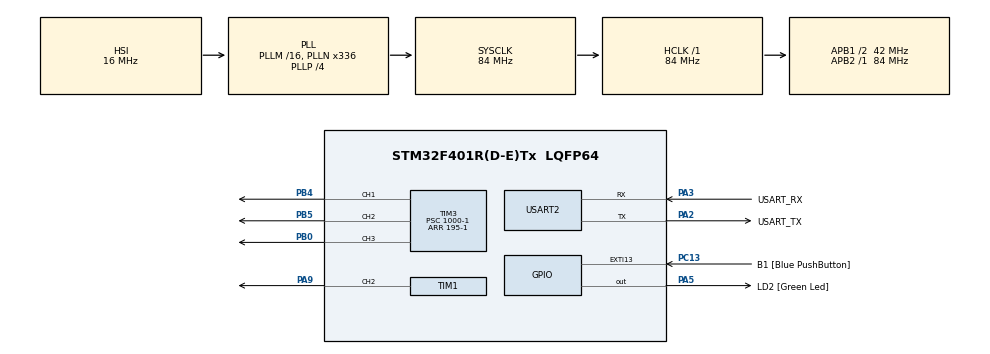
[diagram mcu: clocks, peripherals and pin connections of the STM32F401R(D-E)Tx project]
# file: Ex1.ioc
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Mcu.Family=STM32F4
Mcu.Name=STM32F401R(D-E)Tx
Mcu.Package=LQFP64
NVIC.PriorityGroup=NVIC_PRIORITYGROUP_0
PA13.GPIO_Label=TMS
PA13.Mode=Serial_Wire
PA13.Signal=SYS_JTMS-SWDIO
PA14.GPIO_Label=TCK
PA14.Mode=Serial_Wire
PA14.Signal=SYS_JTCK-SWCLK
PA2.GPIO_Label=USART_TX
PA2.GPIO_Mode=GPIO_MODE_AF_PP
PA2.GPIO_PuPd=GPIO_NOPULL
PA2.GPIO_Speed=GPIO_SPEED_FREQ_LOW
PA2.Mode=Asynchronous
PA2.Signal=USART2_TX
PA3.GPIO_Label=USART_RX
PA3.GPIO_Mode=GPIO_MODE_AF_PP
PA3.GPIO_PuPd=GPIO_NOPULL
PA3.GPIO_Speed=GPIO_SPEED_FREQ_LOW
PA3.Mode=Asynchronous
PA3.Signal=USART2_RX
PA5.GPIO_Label=LD2 [Green Led]
PA5.GPIO_Mode=GPIO_MODE_OUTPUT_PP
PA5.GPIO_PuPd=GPIO_NOPULL
PA5.GPIO_Speed=GPIO_SPEED_FREQ_LOW
PA5.Signal=GPIO_Output
PA9.Signal=S_TIM1_CH2
PB0.Signal=S_TIM3_CH3
PB3.GPIO_Label=SWO
PB3.Signal=SYS_JTDO-SWO
PB4.Signal=S_TIM3_CH1
PB5.Signal=S_TIM3_CH2
PC13-ANTI_TAMP.GPIO_Label=B1 [Blue PushButton]
PC13-ANTI_TAMP.GPIO_ModeDefaultEXTI=GPIO_MODE_IT_FALLING
PC13-ANTI_TAMP.GPIO_PuPd=GPIO_NOPULL
PC13-ANTI_TAMP.Signal=GPXTI13
PC14-OSC32_IN.Mode=LSE-External-Oscillator
PC14-OSC32_IN.Signal=RCC_OSC32_IN
PC15-OSC32_OUT.Mode=LSE-External-Oscillator
PC15-OSC32_OUT.Signal=RCC_OSC32_OUT
PH0\ -\ OSC_IN.Mode=HSE-External-Clock-Source
PH0\ -\ OSC_IN.Signal=RCC_OSC_IN
PH1\ -\ OSC_OUT.Mode=HSE-External-Clock-Source
PH1\ -\ OSC_OUT.Signal=RCC_OSC_OUT
ProjectManager.HeapSize=0x200
ProjectManager.StackSize=0x400
ProjectManager.TargetToolchain=STM32CubeIDE
RCC.48MHZClocksFreq_Value=48000000
RCC.AHBFreq_Value=84000000
RCC.APB1CLKDivider=RCC_HCLK_DIV2
RCC.APB1Freq_Value=42000000
RCC.APB1TimFreq_Value=84000000
RCC.APB2Freq_Value=84000000
RCC.APB2TimFreq_Value=84000000
RCC.CortexFreq_Value=84000000
RCC.HCLKFreq_Value=84000000
RCC.HSE_VALUE=8000000
RCC.HSI_VALUE=16000000
RCC.PLLN=336
RCC.PLLP=RCC_PLLP_DIV4
RCC.PLLQ=7
RCC.SYSCLKFreq_VALUE=84000000
RCC.SYSCLKSource=RCC_SYSCLKSOURCE_PLLCLK
RCC.VCOOutputFreq_Value=336000000
SH.S_TIM1_CH2.0=TIM1_CH2,PWM Generation2 CH2
SH.S_TIM3_CH1.0=TIM3_CH1,PWM Generation1 CH1
SH.S_TIM3_CH2.0=TIM3_CH2,PWM Generation2 CH2
SH.S_TIM3_CH3.0=TIM3_CH3,PWM Generation3 CH3
TIM1.Channel-PWM\ Generation2\ CH2=TIM_CHANNEL_2
TIM1.Period=1909-1
TIM1.Prescaler=100-1
TIM1.Pulse-PWM\ Generation2\ CH2=954-1
TIM3.Channel-PWM\ Generation1\ CH1=TIM_CHANNEL_1
TIM3.Channel-PWM\ Generation2\ CH2=TIM_CHANNEL_2
TIM3.Channel-PWM\ Generation3\ CH3=TIM_CHANNEL_3
TIM3.Period=195-1
TIM3.Prescaler=1000-1
TIM3.Pulse-PWM\ Generation1\ CH1=97-1
TIM3.Pulse-PWM\ Generation2\ CH2=97-1
TIM3.Pulse-PWM\ Generation3\ CH3=97-1
USART2.VirtualMode=VM_ASYNC
VP_TIM1_VS_ClockSourceINT.Mode=Internal
board=NUCLEO-F401RE

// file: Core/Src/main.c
/* USER CODE BEGIN Header */
/**
  ******************************************************************************
  * @file           : main.c
  * @brief          : Main program body
  ******************************************************************************
  * @attention
  *
  * Copyright (c) 2023 STMicroelectronics.
  * All rights reserved.
  *
  * This software is licensed under terms that can be found in the LICENSE file
  * in the root directory of this software component.
  * If no LICENSE file comes with this software, it is provided AS-IS.
  *
  ******************************************************************************
  */
/* USER CODE END Header */
#include "main.h"

/* USER CODE BEGIN Includes */
#include "string.h"

/* USER CODE END Includes */

/* USER CODE BEGIN PD */
#define TIME_UNIT 750
/* USER CODE END PD */

TIM_HandleTypeDef htim1;
TIM_HandleTypeDef htim3;

UART_HandleTypeDef huart2;

void SystemClock_Config(void);
static void MX_GPIO_Init(void);
static void MX_USART2_UART_Init(void);
static void MX_TIM1_Init(void);
static void MX_TIM3_Init(void);

/* USER CODE BEGIN 0 */
static void setFrequency(char* note)
{
  TIM_ClockConfigTypeDef sClockSourceConfig = {0};
  TIM_MasterConfigTypeDef sMasterConfig = {0};
  TIM_OC_InitTypeDef sConfigOC = {0};
  TIM_BreakDeadTimeConfigTypeDef sBreakDeadTimeConfig = {0};

  htim1.Instance = TIM1;
  htim1.Init.Prescaler = 100;
  htim1.Init.CounterMode = TIM_COUNTERMODE_UP;
  htim1.Init.Period = getPeriod(note)-1;
  htim1.Init.ClockDivision = TIM_CLOCKDIVISION_DIV1;
  htim1.Init.RepetitionCounter = 0;
  htim1.Init.AutoReloadPreload = TIM_AUTORELOAD_PRELOAD_DISABLE;
  if (HAL_TIM_Base_Init(&htim1) != HAL_OK)
  {
    Error_Handler();
  }
  sClockSourceConfig.ClockSource = TIM_CLOCKSOURCE_INTERNAL;
  if (HAL_TIM_ConfigClockSource(&htim1, &sClockSourceConfig) != HAL_OK)
  {
    Error_Handler();
  }
  if (HAL_TIM_PWM_Init(&htim1) != HAL_OK)
  {
    Error_Handler();
  }
  sMasterConfig.MasterOutputTrigger = TIM_TRGO_RESET;
  sMasterConfig.MasterSlaveMode = TIM_MASTERSLAVEMODE_DISABLE;
  if (HAL_TIMEx_MasterConfigSynchronization(&htim1, &sMasterConfig) != HAL_OK)
  {
    Error_Handler();
  }
  sConfigOC.OCMode = TIM_OCMODE_PWM1;
  sConfigOC.Pulse = (int)getPeriod(note)/2 -1;
  sConfigOC.OCPolarity = TIM_OCPOLARITY_HIGH;
  sConfigOC.OCNPolarity = TIM_OCNPOLARITY_HIGH;
  sConfigOC.OCFastMode = TIM_OCFAST_DISABLE;
  sConfigOC.OCIdleState = TIM_OCIDLESTATE_RESET;
  sConfigOC.OCNIdleState = TIM_OCNIDLESTATE_RESET;
  if (HAL_TIM_PWM_ConfigChannel(&htim1, &sConfigOC, TIM_CHANNEL_2) != HAL_OK)
  {
    Error_Handler();
  }
  sBreakDeadTimeConfig.OffStateRunMode = TIM_OSSR_DISABLE;
  sBreakDeadTimeConfig.OffStateIDLEMode = TIM_OSSI_DISABLE;
  sBreakDeadTimeConfig.LockLevel = TIM_LOCKLEVEL_OFF;
  sBreakDeadTimeConfig.DeadTime = 0;
  sBreakDeadTimeConfig.BreakState = TIM_BREAK_DISABLE;
  sBreakDeadTimeConfig.BreakPolarity = TIM_BREAKPOLARITY_HIGH;
  sBreakDeadTimeConfig.AutomaticOutput = TIM_AUTOMATICOUTPUT_DISABLE;
  if (HAL_TIMEx_ConfigBreakDeadTime(&htim1, &sBreakDeadTimeConfig) != HAL_OK)
  {
    Error_Handler();
  }
  HAL_TIM_MspPostInit(&htim1);
}

int getPeriod(char* note){
	if(strcmp(note, "la")==0)
		return 1909;
	else if (strcmp(note, "la#")==0)
			return 1802;
	else if (strcmp(note, "si")==0)
			return 1700;
	else if (strcmp(note, "do")==0)
			return 3206;
	else if (strcmp(note, "do#")==0)
			return 3032;
	else if (strcmp(note, "re")==0)
			return 2857;
	else if (strcmp(note, "re5")==0)
				return 1431;
	else if (strcmp(note, "re#")==0)
			return 2700;
	else if (strcmp(note, "mi")==0)
			return 2545;
	else if (strcmp(note, "fa")==0)
			return 2406;
	else if (strcmp(note, "fa#")==0)
			return 2270;
	else if (strcmp(note, "sol")==0)
			return 2142;
	else if (strcmp(note, "sol#")==0)
			return 2024;
}
void setNote (char* note, int delay, char* colour){
	setFrequency(note);
	if(strcmp(colour, "red")==0){
		HAL_TIM_PWM_Start(&htim1, TIM_CHANNEL_2);
		HAL_TIM_PWM_Start(&htim3, TIM_CHANNEL_1);
		HAL_Delay(delay);
		HAL_TIM_PWM_Stop(&htim3, TIM_CHANNEL_1);
		HAL_TIM_PWM_Stop(&htim1, TIM_CHANNEL_2);
	}
	if(strcmp(colour, "green")==0){
		HAL_TIM_PWM_Start(&htim1, TIM_CHANNEL_2);
		HAL_TIM_PWM_Start(&htim3, TIM_CHANNEL_2);
		HAL_Delay(delay);
		HAL_TIM_PWM_Stop(&htim3, TIM_CHANNEL_2);
		HAL_TIM_PWM_Stop(&htim1, TIM_CHANNEL_2);
	}
	if(strcmp(colour, "blue")==0){
		HAL_TIM_PWM_Start(&htim1, TIM_CHANNEL_2);
		HAL_TIM_PWM_Start(&htim3, TIM_CHANNEL_3);
		HAL_Delay(delay);
		HAL_TIM_PWM_Stop(&htim3, TIM_CHANNEL_3);
		HAL_TIM_PWM_Stop(&htim1, TIM_CHANNEL_2);
	}
}
void playRGB(){
	 setNote("sol", (int)TIME_UNIT * 3/8, "red");
	 setNote("la", (int)TIME_UNIT * 3/8, "green");
	 setNote("sol", (int)TIME_UNIT * 3/8, "blue");
}

/* USER CODE END 0 */

int main(void)
{

  /* MCU Configuration--------------------------------------------------------*/

  /* Reset of all peripherals, Initializes the Flash interface and the Systick. */
  HAL_Init();

  /* Configure the system clock */
  SystemClock_Config();

  /* Initialize all configured peripherals */
  MX_GPIO_Init();
  MX_USART2_UART_Init();
  MX_TIM1_Init();
  MX_TIM3_Init();
  /* USER CODE BEGIN 2 */

  playRGB();

  /* USER CODE END 2 */

  /* Infinite loop */
  while (1)
  {

  }
}

void SystemClock_Config(void)
{
  RCC_OscInitTypeDef RCC_OscInitStruct = {0};
  RCC_ClkInitTypeDef RCC_ClkInitStruct = {0};

  /** Configure the main internal regulator output voltage
  */
  __HAL_RCC_PWR_CLK_ENABLE();
  __HAL_PWR_VOLTAGESCALING_CONFIG(PWR_REGULATOR_VOLTAGE_SCALE2);

  /** Initializes the RCC Oscillators according to the specified parameters
  * in the RCC_OscInitTypeDef structure.
  */
  RCC_OscInitStruct.OscillatorType = RCC_OSCILLATORTYPE_HSI;
  RCC_OscInitStruct.HSIState = RCC_HSI_ON;
  RCC_OscInitStruct.HSICalibrationValue = RCC_HSICALIBRATION_DEFAULT;
  RCC_OscInitStruct.PLL.PLLState = RCC_PLL_ON;
  RCC_OscInitStruct.PLL.PLLSource = RCC_PLLSOURCE_HSI;
  RCC_OscInitStruct.PLL.PLLM = 16;
  RCC_OscInitStruct.PLL.PLLN = 336;
  RCC_OscInitStruct.PLL.PLLP = RCC_PLLP_DIV4;
  RCC_OscInitStruct.PLL.PLLQ = 7;
  if (HAL_RCC_OscConfig(&RCC_OscInitStruct) != HAL_OK)
  {
    Error_Handler();
  }

  /** Initializes the CPU, AHB and APB buses clocks
  */
  RCC_ClkInitStruct.ClockType = RCC_CLOCKTYPE_HCLK|RCC_CLOCKTYPE_SYSCLK
                              |RCC_CLOCKTYPE_PCLK1|RCC_CLOCKTYPE_PCLK2;
  RCC_ClkInitStruct.SYSCLKSource = RCC_SYSCLKSOURCE_PLLCLK;
  RCC_ClkInitStruct.AHBCLKDivider = RCC_SYSCLK_DIV1;
  RCC_ClkInitStruct.APB1CLKDivider = RCC_HCLK_DIV2;
  RCC_ClkInitStruct.APB2CLKDivider = RCC_HCLK_DIV1;

  if (HAL_RCC_ClockConfig(&RCC_ClkInitStruct, FLASH_LATENCY_2) != HAL_OK)
  {
    Error_Handler();
  }
}

static void MX_TIM1_Init(void)
{

  TIM_ClockConfigTypeDef sClockSourceConfig = {0};
  TIM_MasterConfigTypeDef sMasterConfig = {0};
  TIM_OC_InitTypeDef sConfigOC = {0};
  TIM_BreakDeadTimeConfigTypeDef sBreakDeadTimeConfig = {0};

  htim1.Instance = TIM1;
  htim1.Init.Prescaler = 100-1;
  htim1.Init.CounterMode = TIM_COUNTERMODE_UP;
  htim1.Init.Period = 1909-1;
  htim1.Init.ClockDivision = TIM_CLOCKDIVISION_DIV1;
  htim1.Init.RepetitionCounter = 0;
  htim1.Init.AutoReloadPreload = TIM_AUTORELOAD_PRELOAD_DISABLE;
  if (HAL_TIM_Base_Init(&htim1) != HAL_OK)
  {
    Error_Handler();
  }
  sClockSourceConfig.ClockSource = TIM_CLOCKSOURCE_INTERNAL;
  if (HAL_TIM_ConfigClockSource(&htim1, &sClockSourceConfig) != HAL_OK)
  {
    Error_Handler();
  }
  if (HAL_TIM_PWM_Init(&htim1) != HAL_OK)
  {
    Error_Handler();
  }
  sMasterConfig.MasterOutputTrigger = TIM_TRGO_RESET;
  sMasterConfig.MasterSlaveMode = TIM_MASTERSLAVEMODE_DISABLE;
  if (HAL_TIMEx_MasterConfigSynchronization(&htim1, &sMasterConfig) != HAL_OK)
  {
    Error_Handler();
  }
  sConfigOC.OCMode = TIM_OCMODE_PWM1;
  sConfigOC.Pulse = 954-1;
  sConfigOC.OCPolarity = TIM_OCPOLARITY_HIGH;
  sConfigOC.OCNPolarity = TIM_OCNPOLARITY_HIGH;
  sConfigOC.OCFastMode = TIM_OCFAST_DISABLE;
  sConfigOC.OCIdleState = TIM_OCIDLESTATE_RESET;
  sConfigOC.OCNIdleState = TIM_OCNIDLESTATE_RESET;
  if (HAL_TIM_PWM_ConfigChannel(&htim1, &sConfigOC, TIM_CHANNEL_2) != HAL_OK)
  {
    Error_Handler();
  }
  sBreakDeadTimeConfig.OffStateRunMode = TIM_OSSR_DISABLE;
  sBreakDeadTimeConfig.OffStateIDLEMode = TIM_OSSI_DISABLE;
  sBreakDeadTimeConfig.LockLevel = TIM_LOCKLEVEL_OFF;
  sBreakDeadTimeConfig.DeadTime = 0;
  sBreakDeadTimeConfig.BreakState = TIM_BREAK_DISABLE;
  sBreakDeadTimeConfig.BreakPolarity = TIM_BREAKPOLARITY_HIGH;
  sBreakDeadTimeConfig.AutomaticOutput = TIM_AUTOMATICOUTPUT_DISABLE;
  if (HAL_TIMEx_ConfigBreakDeadTime(&htim1, &sBreakDeadTimeConfig) != HAL_OK)
  {
    Error_Handler();
  }
  HAL_TIM_MspPostInit(&htim1);

}

static void MX_TIM3_Init(void)
{

  TIM_MasterConfigTypeDef sMasterConfig = {0};
  TIM_OC_InitTypeDef sConfigOC = {0};

  htim3.Instance = TIM3;
  htim3.Init.Prescaler = 1000-1;
  htim3.Init.CounterMode = TIM_COUNTERMODE_UP;
  htim3.Init.Period = 195-1;
  htim3.Init.ClockDivision = TIM_CLOCKDIVISION_DIV1;
  htim3.Init.AutoReloadPreload = TIM_AUTORELOAD_PRELOAD_DISABLE;
  if (HAL_TIM_PWM_Init(&htim3) != HAL_OK)
  {
    Error_Handler();
  }
  sMasterConfig.MasterOutputTrigger = TIM_TRGO_RESET;
  sMasterConfig.MasterSlaveMode = TIM_MASTERSLAVEMODE_DISABLE;
  if (HAL_TIMEx_MasterConfigSynchronization(&htim3, &sMasterConfig) != HAL_OK)
  {
    Error_Handler();
  }
  sConfigOC.OCMode = TIM_OCMODE_PWM1;
  sConfigOC.Pulse = 97-1;
  sConfigOC.OCPolarity = TIM_OCPOLARITY_HIGH;
  sConfigOC.OCFastMode = TIM_OCFAST_DISABLE;
  if (HAL_TIM_PWM_ConfigChannel(&htim3, &sConfigOC, TIM_CHANNEL_1) != HAL_OK)
  {
    Error_Handler();
  }
  if (HAL_TIM_PWM_ConfigChannel(&htim3, &sConfigOC, TIM_CHANNEL_2) != HAL_OK)
  {
    Error_Handler();
  }
  if (HAL_TIM_PWM_ConfigChannel(&htim3, &sConfigOC, TIM_CHANNEL_3) != HAL_OK)
  {
    Error_Handler();
  }
  HAL_TIM_MspPostInit(&htim3);

}

static void MX_USART2_UART_Init(void)
{

  huart2.Instance = USART2;
  huart2.Init.BaudRate = 115200;
  huart2.Init.WordLength = UART_WORDLENGTH_8B;
  huart2.Init.StopBits = UART_STOPBITS_1;
  huart2.Init.Parity = UART_PARITY_NONE;
  huart2.Init.Mode = UART_MODE_TX_RX;
  huart2.Init.HwFlowCtl = UART_HWCONTROL_NONE;
  huart2.Init.OverSampling = UART_OVERSAMPLING_16;
  if (HAL_UART_Init(&huart2) != HAL_OK)
  {
    Error_Handler();
  }

}

static void MX_GPIO_Init(void)
{
  GPIO_InitTypeDef GPIO_InitStruct = {0};

  /* GPIO Ports Clock Enable */
  __HAL_RCC_GPIOC_CLK_ENABLE();
  __HAL_RCC_GPIOH_CLK_ENABLE();
  __HAL_RCC_GPIOA_CLK_ENABLE();
  __HAL_RCC_GPIOB_CLK_ENABLE();

  /*Configure GPIO pin Output Level */
  HAL_GPIO_WritePin(LD2_GPIO_Port, LD2_Pin, GPIO_PIN_RESET);

  /*Configure GPIO pin : B1_Pin */
  GPIO_InitStruct.Pin = B1_Pin;
  GPIO_InitStruct.Mode = GPIO_MODE_IT_FALLING;
  GPIO_InitStruct.Pull = GPIO_NOPULL;
  HAL_GPIO_Init(B1_GPIO_Port, &GPIO_InitStruct);

  /*Configure GPIO pin : LD2_Pin */
  GPIO_InitStruct.Pin = LD2_Pin;
  GPIO_InitStruct.Mode = GPIO_MODE_OUTPUT_PP;
  GPIO_InitStruct.Pull = GPIO_NOPULL;
  GPIO_InitStruct.Speed = GPIO_SPEED_FREQ_LOW;
  HAL_GPIO_Init(LD2_GPIO_Port, &GPIO_InitStruct);

}

void Error_Handler(void)
{
  __disable_irq();
  while (1)
  {
  }
}
